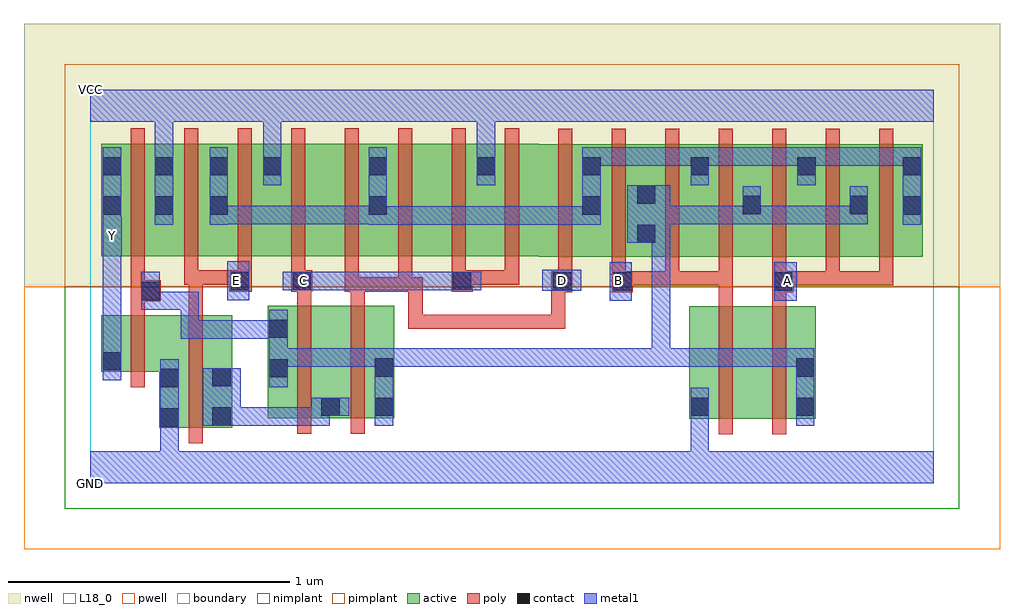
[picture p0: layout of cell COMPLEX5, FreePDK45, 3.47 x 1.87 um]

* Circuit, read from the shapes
.subckt COMPLEX5 A B C D E GND VCC Y
M1 GND n1 Y VSUBS nfet w=0.2u l=0.05u
M2 n2 E GND VSUBS nfet w=0.4u l=0.05u
M3 n2 C n1 VSUBS nfet w=0.4u l=0.05u
M4 n1 D n2 VSUBS nfet w=0.4u l=0.05u
M5 n3 B GND VSUBS nfet w=0.4u l=0.05u
M6 n1 A n3 VSUBS nfet w=0.4u l=0.05u
M7 VCC n1 Y n4 pfet w=0.4u l=0.05u
M8 n5 E VCC n4 pfet w=0.4u l=0.05u m=2
M9 n6 C VCC n4 pfet w=0.4u l=0.05u
M10 n5 D n6 n4 pfet w=0.4u l=0.05u
M11 n7 D n5 n4 pfet w=0.4u l=0.05u
M12 VCC C n7 n4 pfet w=0.4u l=0.05u
M13 n8 C VCC n4 pfet w=0.4u l=0.05u
M14 n5 D n8 n4 pfet w=0.4u l=0.05u
M15 n1 B n5 n4 pfet w=0.4u l=0.05u m=3
M16 n5 A n1 n4 pfet w=0.4u l=0.05u m=3
.ends

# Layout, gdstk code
import gdstk
lib = gdstk.Library(unit=1e-6, precision=1e-09)
def R(c, l, rs):  # rectangles x0, y0, x1, y1
    for r in rs: c.add(gdstk.rectangle(r[:2], r[2:], *l))
def A(c, l, x, y, w, h, nx, ny, dx, dy):  # array of equal rectangles
    R(c, l, [(x+i*dx, y+j*dy, x+i*dx+w, y+j*dy+h) for i in range(nx) for j in range(ny)])
active = (1, 0)
pwell = (2, 0)
nwell = (3, 0)
nimplant = (4, 0)
pimplant = (5, 0)
poly = (9, 0)
contact = (10, 0)
metal1 = (11, 0)
L18_0 = (18, 0)
boundary = (235, 0)

complex5 = lib.new_cell('COMPLEX5')
R(complex5, active, [(0.245,0.197,0.32,0.597), (0.245,0.197,0.505,0.597), (0.43,0.2,0.505,0.597), (2.13,0.23,2.355,0.63), (2.13,0.23,2.205,0.63), (2.355,0.23,2.58,0.63), (0.632,0.232,0.892,0.632), (0.817,0.232,1.082,0.632), (0.817,0.235,0.892,0.492), (1.007,0.235,1.082,0.632), (2.505,0.235,2.58,0.63), (0.632,0.245,0.707,0.632), (0.04,0.397,0.32,0.597), (0.04,0.397,0.115,0.597), (1.595,0.805,1.82,1.205), (1.745,0.805,1.82,1.2), (1.745,0.805,2.015,1.205), (1.94,0.805,2.205,1.205), (1.94,0.805,2.015,1.07), (2.13,0.805,2.205,1.2), (2.13,0.805,2.39,1.205), (2.315,0.805,2.39,1.07), (2.315,0.805,2.585,1.205), (2.51,0.805,2.77,1.205), (2.695,0.805,2.96,1.205), (2.695,0.805,2.77,1.07), (2.885,0.805,2.96,1.165), (0.04,0.807,0.3,1.207), (0.04,0.807,0.115,1.165), (0.225,0.807,0.3,1.207), (0.225,0.807,0.495,1.207), (0.42,0.807,0.685,1.207), (0.42,0.807,0.495,1.2), (0.61,0.807,0.835,1.207), (0.835,0.807,1.06,1.207), (0.985,0.807,1.215,1.207), (0.985,0.807,1.06,1.2), (1.215,0.807,1.445,1.207), (1.37,0.807,1.595,1.207), (1.37,0.807,1.445,1.207), (0.61,0.822,0.685,1.207), (2.51,0.907,2.585,1.2)])
R(complex5, pwell, [(-0.235,-0.235,3.235,0.7)])
R(complex5, nwell, [(-0.235,0.7,3.235,1.635)])
R(complex5, nimplant, [(-0.09,-0.09,3.09,0.7)])
R(complex5, pimplant, [(-0.09,0.7,3.09,1.49)])
A(complex5, poly, 1.665, 0.705, 0.05, 0.095, 7, 1, 0.19, 0)
A(complex5, poly, 0.335, 0.707, 0.05, 0.095, 3, 1, 0.19, 0)
A(complex5, poly, 1.665, 0.75, 0.05, 0.51, 7, 1, 0.19, 0)
A(complex5, poly, 0.145, 0.752, 0.05, 0.51, 8, 1, 0.19, 0)
R(complex5, poly, [(0.35,0.142,0.4,0.652), (2.235,0.175,2.285,0.685), (2.425,0.175,2.475,0.685), (0.737,0.177,0.787,0.687), (0.927,0.177,0.977,0.687), (0.145,0.342,0.195,0.652), (1.132,0.55,1.182,0.6), (1.132,0.55,1.182,0.6), (1.132,0.55,1.182,0.6), (1.132,0.55,1.315,0.6), (1.132,0.55,1.182,0.732), (1.265,0.55,1.315,0.6), (1.265,0.55,1.315,0.6), (1.265,0.55,1.315,0.6), (1.265,0.55,1.492,0.6), (1.442,0.55,1.492,0.6), (1.442,0.55,1.492,0.6), (1.442,0.55,1.492,0.6), (1.442,0.55,1.69,0.6), (1.64,0.55,1.69,0.6), (1.64,0.55,1.69,0.6), (1.64,0.55,1.69,0.6), (1.64,0.55,1.69,0.6), (1.64,0.55,1.69,0.6), (1.64,0.55,1.69,0.73), (0.145,0.602,0.195,0.697), (0.35,0.602,0.4,0.757), (2.235,0.635,2.285,0.755), (2.425,0.635,2.475,0.73), (0.737,0.637,0.787,0.732), (0.927,0.637,0.977,0.732), (0.145,0.647,0.252,0.722), (0.145,0.672,0.195,0.802), (1.64,0.68,1.715,0.755), (1.855,0.68,1.93,0.755), (2.425,0.68,2.502,0.755), (0.495,0.682,0.575,0.757), (0.715,0.682,0.79,0.757), (0.905,0.682,0.955,0.802), (0.905,0.682,0.977,0.732), (0.927,0.682,1.145,0.732), (1.095,0.682,1.145,0.732), (1.095,0.682,1.145,0.732), (1.095,0.682,1.145,0.802), (1.095,0.682,1.182,0.732), (1.285,0.682,1.36,0.757), (1.88,0.705,1.93,0.755), (1.88,0.705,1.93,0.755), (1.88,0.705,2.095,0.755), (2.045,0.705,2.285,0.755), (2.045,0.705,2.095,0.755), (2.235,0.705,2.285,0.755), (2.235,0.705,2.285,0.755), (2.235,0.705,2.285,0.755), (2.452,0.705,2.502,0.755), (2.452,0.705,2.502,0.755), (2.452,0.705,2.665,0.755), (2.615,0.705,2.855,0.755), (2.615,0.705,2.665,0.755), (2.615,0.705,2.665,0.755), (2.615,0.705,2.665,0.755), (2.805,0.705,2.855,0.755), (0.335,0.707,0.4,0.757), (0.35,0.707,0.4,0.757), (0.35,0.707,0.4,0.757), (0.35,0.707,0.545,0.757), (1.285,0.707,1.335,0.802), (1.31,0.707,1.525,0.757), (1.475,0.707,1.525,0.802), (1.475,0.707,1.525,0.757), (1.475,0.707,1.525,0.757), (1.475,0.707,1.525,0.757)])
R(complex5, contact, [(0.25,0.202,0.315,0.267), (0.435,0.205,0.5,0.27), (0.822,0.24,0.887,0.305), (1.012,0.24,1.077,0.305), (2.135,0.24,2.2,0.305), (2.51,0.24,2.575,0.305), (0.25,0.342,0.315,0.407), (0.435,0.345,0.5,0.41), (0.637,0.377,0.702,0.442), (1.012,0.38,1.077,0.445), (2.51,0.38,2.575,0.445), (0.045,0.402,0.11,0.467), (0.637,0.517,0.702,0.582), (0.182,0.652,0.247,0.717), (1.645,0.685,1.71,0.75), (1.86,0.685,1.925,0.75), (2.432,0.685,2.497,0.75), (0.5,0.687,0.565,0.752), (0.72,0.687,0.785,0.752), (1.29,0.687,1.355,0.752), (1.945,0.855,2.01,0.92), (0.045,0.955,0.11,1.02), (0.23,0.955,0.295,1.02), (0.425,0.955,0.49,1.02), (0.99,0.955,1.055,1.02), (1.75,0.955,1.815,1.02), (2.89,0.955,2.955,1.02), (2.32,0.957,2.385,1.022), (2.7,0.957,2.765,1.022), (1.945,0.995,2.01,1.06), (0.045,1.095,0.11,1.16), (0.23,1.095,0.295,1.16), (0.425,1.095,0.49,1.16), (0.615,1.095,0.68,1.16), (0.99,1.095,1.055,1.16), (1.375,1.095,1.44,1.16), (1.75,1.095,1.815,1.16), (2.135,1.095,2.2,1.16), (2.515,1.095,2.58,1.16), (2.89,1.095,2.955,1.16)])
A(complex5, metal1, 0.615, 1.06, 0.065, 0.135, 3, 1, 0.76, 0)
R(complex5, metal1, [(0,0,3,0.115), (0.25,0.05,0.315,0.232), (2.135,0.05,2.2,0.115), (2.135,0.05,2.2,0.115), (2.135,0.05,2.2,0.27), (0.25,0.167,0.315,0.232), (0.25,0.167,0.315,0.232), (0.25,0.167,0.315,0.442), (0.4,0.205,0.535,0.41), (0.47,0.205,0.535,0.27), (0.47,0.205,0.535,0.27), (0.47,0.205,0.672,0.27), (0.607,0.205,0.672,0.27), (0.607,0.205,0.852,0.27), (0.787,0.205,0.852,0.305), (1.012,0.205,1.077,0.48), (2.135,0.205,2.2,0.34), (2.51,0.205,2.575,0.48), (0.787,0.24,0.852,0.305), (0.787,0.24,0.922,0.305), (0.637,0.342,0.702,0.617), (0.045,0.367,0.11,0.502), (0.637,0.415,0.84,0.48), (0.775,0.415,0.84,0.48), (0.775,0.415,0.84,0.48), (0.775,0.415,0.84,0.48), (0.775,0.415,1.045,0.48), (0.98,0.415,1.045,0.48), (0.98,0.415,1.077,0.48), (1.012,0.415,1.182,0.48), (1.117,0.415,1.182,0.48), (1.117,0.415,1.215,0.48), (1.15,0.415,1.215,0.48), (1.15,0.415,1.352,0.48), (1.287,0.415,1.352,0.48), (1.287,0.415,1.49,0.48), (1.425,0.415,1.49,0.48), (1.425,0.415,1.49,0.48), (1.425,0.415,1.49,0.48), (1.425,0.415,1.677,0.48), (1.612,0.415,1.677,0.48), (1.612,0.415,1.677,0.48), (1.612,0.415,1.677,0.48), (1.612,0.415,1.815,0.48), (1.75,0.415,1.815,0.48), (1.75,0.415,1.815,0.48), (1.75,0.415,1.815,0.48), (1.75,0.415,2.062,0.48), (1.997,0.415,2.062,0.48), (1.997,0.415,2.222,0.48), (1.997,0.415,2.062,0.92), (2.157,0.415,2.222,0.48), (2.157,0.415,2.222,0.48), (2.157,0.415,2.222,0.48), (2.157,0.415,2.36,0.48), (2.295,0.415,2.36,0.48), (2.295,0.415,2.36,0.48), (2.295,0.415,2.36,0.48), (2.295,0.415,2.575,0.48), (2.51,0.415,2.575,0.48), (2.51,0.415,2.575,0.48), (0.045,0.437,0.11,0.877), (0.322,0.515,0.387,0.58), (0.322,0.515,0.525,0.58), (0.322,0.515,0.387,0.682), (0.46,0.515,0.525,0.58), (0.46,0.515,0.702,0.58), (0.182,0.617,0.247,0.752), (0.182,0.617,0.25,0.682), (0.185,0.617,0.25,0.682), (0.185,0.617,0.387,0.682), (0.322,0.617,0.387,0.682), (0.322,0.617,0.387,0.682), (0.322,0.617,0.387,0.682), (1.847,0.65,1.925,0.787), (2.432,0.65,2.512,0.787), (0.487,0.652,0.565,0.79), (1.607,0.685,1.747,0.76), (0.685,0.687,0.827,0.752), (0.762,0.687,0.84,0.752), (0.775,0.687,0.84,0.752), (0.775,0.687,0.992,0.752), (0.927,0.687,0.992,0.752), (0.927,0.687,0.992,0.752), (0.927,0.687,0.992,0.752), (0.927,0.687,1.182,0.752), (1.117,0.687,1.182,0.752), (1.117,0.687,1.215,0.752), (1.15,0.687,1.215,0.752), (1.15,0.687,1.32,0.752), (1.255,0.687,1.39,0.752), (0.045,0.812,0.112,0.947), (1.91,0.855,2.062,1.06), (1.997,0.855,2.062,0.92), (1.997,0.855,2.062,0.92), (0.045,0.882,0.11,0.985), (0.045,0.92,0.11,1.195), (0.23,0.92,0.295,1.195), (0.425,0.92,0.49,1.195), (0.99,0.92,1.055,1.195), (0.99,0.92,1.182,0.985), (1.117,0.92,1.182,0.985), (1.117,0.92,1.215,0.985), (1.15,0.92,1.215,0.985), (1.15,0.92,1.352,0.985), (1.287,0.92,1.352,0.985), (1.287,0.92,1.352,0.985), (1.287,0.92,1.352,0.985), (1.287,0.92,1.49,0.985), (1.425,0.92,1.49,0.985), (1.425,0.92,1.627,0.985), (1.562,0.92,1.627,0.985), (1.562,0.92,1.627,0.985), (1.562,0.92,1.627,0.985), (1.562,0.92,1.815,0.985), (1.75,0.92,1.815,1.195), (2.89,0.92,2.955,1.195), (0.425,0.922,0.612,0.987), (0.547,0.922,0.612,0.987), (0.547,0.922,0.672,0.987), (0.607,0.922,0.672,0.987), (0.607,0.922,0.84,0.987), (0.775,0.922,0.84,0.987), (0.775,0.922,0.84,0.987), (0.775,0.922,0.84,0.987), (0.775,0.922,0.99,0.987), (0.925,0.922,0.99,0.987), (0.925,0.922,1.055,0.987), (1.997,0.922,2.222,0.987), (2.157,0.922,2.222,0.987), (2.157,0.922,2.222,0.987), (2.157,0.922,2.222,0.987), (2.157,0.922,2.36,0.987), (2.295,0.922,2.36,0.987), (2.295,0.922,2.385,0.987), (2.32,0.922,2.385,1.057), (2.32,0.922,2.522,0.987), (2.457,0.922,2.522,0.987), (2.457,0.922,2.522,0.987), (2.457,0.922,2.522,0.987), (2.457,0.922,2.765,0.987), (2.7,0.922,2.765,0.987), (2.7,0.922,2.765,0.987), (2.7,0.922,2.765,1.057), (2.515,1.06,2.58,1.195), (0.23,1.13,0.295,1.35), (0.615,1.13,0.68,1.35), (1.375,1.13,1.44,1.35), (1.75,1.13,1.815,1.195), (1.75,1.13,1.815,1.195), (1.75,1.13,2.062,1.195), (1.997,1.13,2.062,1.195), (1.997,1.13,2.062,1.195), (1.997,1.13,2.062,1.195), (1.997,1.13,2.2,1.195), (2.135,1.13,2.2,1.195), (2.135,1.13,2.2,1.195), (2.135,1.13,2.36,1.195), (2.295,1.13,2.36,1.195), (2.295,1.13,2.36,1.195), (2.295,1.13,2.36,1.195), (2.295,1.13,2.58,1.195), (2.515,1.13,2.58,1.195), (2.515,1.13,2.58,1.195), (2.515,1.13,2.817,1.195), (2.752,1.13,2.817,1.195), (2.752,1.13,2.817,1.195), (2.752,1.13,2.817,1.195), (2.752,1.13,2.955,1.195), (2.89,1.13,2.955,1.195), (2.89,1.13,2.955,1.195), (0,1.285,3,1.4)])
R(complex5, L18_0, [(0,0,3,0.115), (0.25,0.05,0.315,0.232), (2.135,0.05,2.2,0.115), (2.135,0.05,2.2,0.115), (2.135,0.05,2.2,0.27), (0.25,0.167,0.315,0.442), (0.25,0.167,0.315,0.232), (0.25,0.167,0.315,0.232), (2.135,0.205,2.2,0.34), (0.045,0.367,0.11,0.502), (0.045,0.437,0.11,0.877), (1.847,0.65,1.925,0.787), (2.432,0.65,2.512,0.787), (0.487,0.652,0.565,0.79), (1.607,0.685,1.747,0.76), (0.487,0.687,0.552,0.752), (0.685,0.687,0.827,0.752), (0.727,0.687,0.792,0.752), (0.762,0.687,0.84,0.752), (0.775,0.687,0.84,0.752), (0.775,0.687,0.992,0.752), (0.927,0.687,0.992,0.752), (0.927,0.687,0.992,0.752), (0.927,0.687,0.992,0.752), (0.927,0.687,1.182,0.752), (1.117,0.687,1.182,0.752), (1.117,0.687,1.215,0.752), (1.15,0.687,1.215,0.752), (1.15,0.687,1.32,0.752), (1.255,0.687,1.39,0.752), (1.647,0.687,1.712,0.752), (1.847,0.687,1.912,0.752), (2.447,0.687,2.512,0.752), (0.045,0.812,0.112,0.947), (0.047,0.847,0.112,0.912), (0.045,0.882,0.11,0.985), (0.045,0.92,0.11,1.195), (0.23,0.92,0.295,1.195), (0.615,1.06,0.68,1.195), (1.375,1.06,1.44,1.195), (0.23,1.13,0.295,1.35), (0.615,1.13,0.68,1.35), (1.375,1.13,1.44,1.35), (0,1.285,3,1.4)])
R(complex5, boundary, [(0,0,3,1.4)])
complex5.add(gdstk.Label('A', (2.48,0.72), layer=11, texttype=0))
complex5.add(gdstk.Label('B', (1.88,0.72), layer=11, texttype=0))
complex5.add(gdstk.Label('C', (0.76,0.72), layer=11, texttype=0))
complex5.add(gdstk.Label('D', (1.68,0.72), layer=11, texttype=0))
complex5.add(gdstk.Label('E', (0.52,0.72), layer=11, texttype=0))
complex5.add(gdstk.Label('Y', (0.08,0.88), layer=11, texttype=0))
complex5.add(gdstk.Label('VCC', (0,1.4), layer=11, texttype=0))
complex5.add(gdstk.Label('GND', (0,0), layer=11, texttype=0))

lib.write_gds('COMPLEX5.gds')
